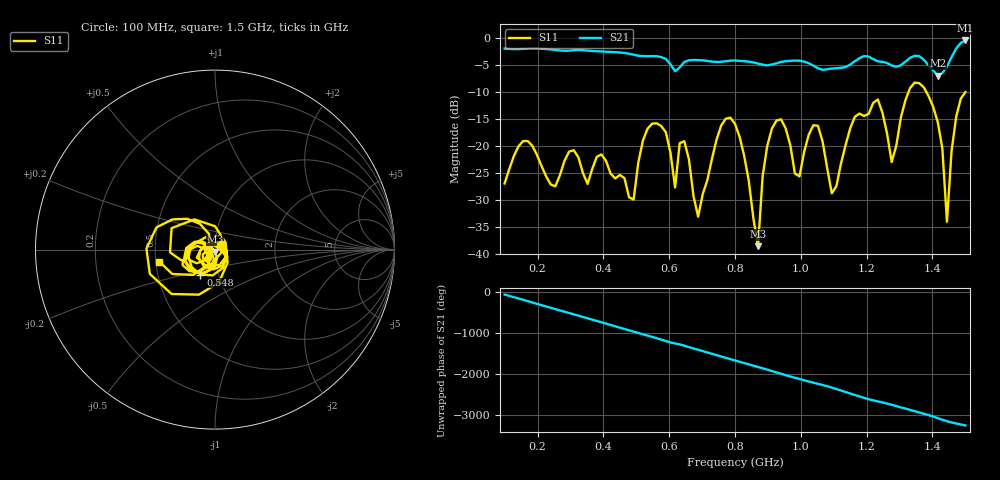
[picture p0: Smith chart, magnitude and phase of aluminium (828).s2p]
! NanoVNA-App
! Date: 2025-09-25 15:01:44
! Start: 100MHz Stop: 1,5GHz Points: 101
! S-Parameter data: F S11 S21 S12 S22
# Hz S RI R 50
!  Frequency  S11_Real  S11_Imag  S21_Real  S21_Imag  S12_Real  S12_Imag  S22_Real  S22_Imag
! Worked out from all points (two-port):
!   101 points, 100 MHz to 1.5 GHz, reference 50 ohm
!   highest |S21| = -0.41 dB at 1.5 GHz (marker M1); lowest = -6.9 dB at 1.416 GHz (marker M2)
!   |S21| within 3 dB of the highest: start of sweep to 567.9 MHz; 1.459 GHz to end of sweep (the widest 2 of 4)
!   lowest |S11| = -38.6 dB at 870 MHz (marker M3), VSWR 1.02, Z = 50 - j1.17 ohm
!   |S11| at or under -10 dB: start of sweep to 1.327 GHz; 1.382 GHz to 1.5 GHz (118.4 MHz wide, 8.22 % of centre)
!   S12 and S22 are empty: the file has one direction only
!   S11 on the Smith chart (normalised r, x): 100 MHz: 1.07, +0.06; 548 MHz: 0.82, -0.23; 1.5 GHz: 0.52, -0.08
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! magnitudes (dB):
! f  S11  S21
! 100 MHz  -27.0  -1.9
! 156 MHz  -19.1  -2.0
! 338 MHz  -25.0  -2.2
! 492 MHz  -29.9  -3.1
! 548 MHz  -15.9  -3.3
! 576 MHz  -16.3  -3.5
! 618 MHz  -27.7  -6.1
! 646 MHz  -19.1  -4.4
! 688 MHz  -33.1  -4.1
! 800 MHz  -15.9  -4.1
! 870 MHz  -38.6  -4.7
! 912 MHz  -16.8  -4.9
! 996 MHz  -25.6  -4.2
! 1.038 GHz  -16.2  -5.1
! 1.094 GHz  -28.8  -5.6
! 1.234 GHz  -11.4  -4.3
! 1.276 GHz  -23.0  -5.1
! 1.346 GHz  -8.2  -3.3
! 1.416 GHz  -15.5  -6.9
! 1.444 GHz  -34.1  -5.3
! 1.472 GHz  -14.6  -1.9
! 1.5 GHz  -10.0  -0.4
